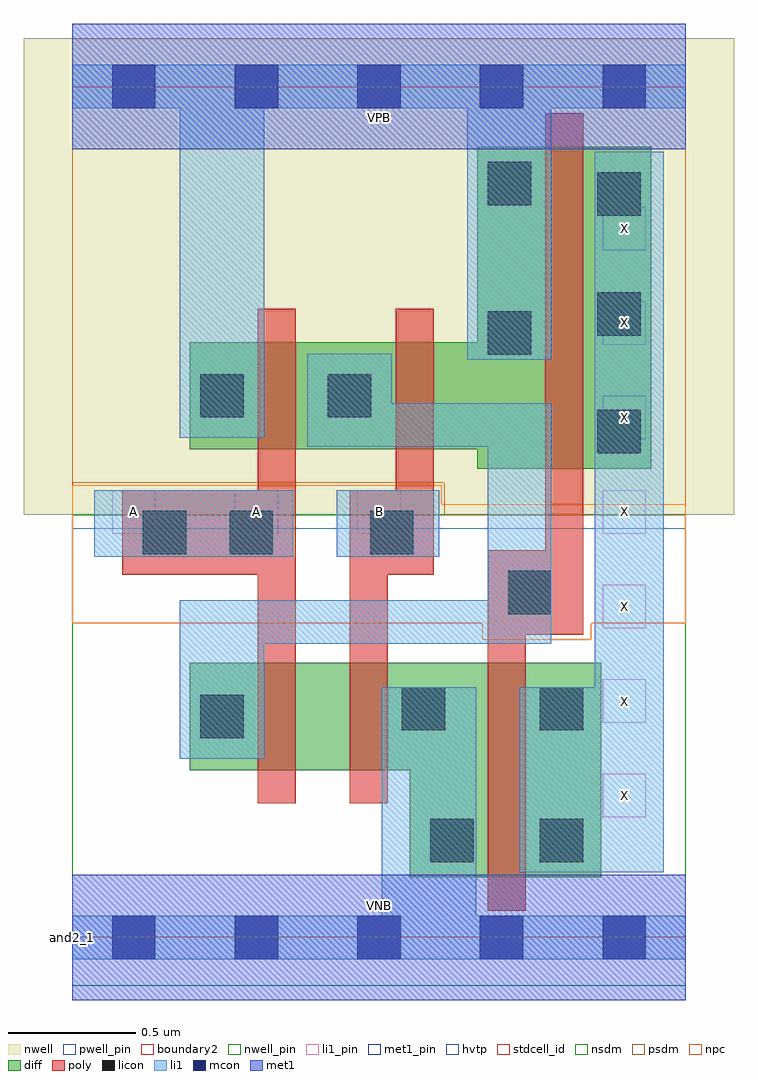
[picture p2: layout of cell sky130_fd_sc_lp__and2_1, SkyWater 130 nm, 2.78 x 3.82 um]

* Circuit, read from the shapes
.subckt sky130_fd_sc_lp__and2_1 A B VGND VNB VPB VPWR X
XM1 n1 A n2 VNB sky130_fd_pr__nfet_01v8 w=0.42 l=0.15
XM2 VGND B n1 VNB sky130_fd_pr__nfet_01v8 w=0.42 l=0.15
XM3 X n2 VGND VNB sky130_fd_pr__nfet_01v8 w=0.84 l=0.15
XM4 n2 A VPWR VPB sky130_fd_pr__pfet_01v8_hvt w=0.42 l=0.15
XM5 VPWR B n2 VPB sky130_fd_pr__pfet_01v8_hvt w=0.42 l=0.15
XM6 X n2 VPWR VPB sky130_fd_pr__pfet_01v8_hvt w=1.26 l=0.15
.ends

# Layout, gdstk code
import gdstk
lib = gdstk.Library(unit=1e-6, precision=1e-09)
def R(c, l, rs):  # rectangles x0, y0, x1, y1
    for r in rs: c.add(gdstk.rectangle(r[:2], r[2:], *l))
def A(c, l, x, y, w, h, nx, ny, dx, dy):  # array of equal rectangles
    R(c, l, [(x+i*dx, y+j*dy, x+i*dx+w, y+j*dy+h) for i in range(nx) for j in range(ny)])
def P(c, l, *ps):  # polygons
    for p in ps: c.add(gdstk.Polygon(p, *l))
nwell_pin = (64, 16)
nwell = (64, 20)
diff = (65, 20)
poly = (66, 20)
licon = (66, 44)
li1_pin = (67, 16)
li1 = (67, 20)
mcon = (67, 44)
met1_pin = (68, 16)
met1 = (68, 20)
hvtp = (78, 44)
stdcell_id = (81, 4)
nsdm = (93, 44)
psdm = (94, 20)
npc = (95, 20)
pwell_pin = (122, 16)
boundary2 = (236, 0)

sky130_fd_sc_lp__and2_1 = lib.new_cell('sky130_fd_sc_lp__and2_1')
R(sky130_fd_sc_lp__and2_1, nwell_pin, [(0,3.085,2.4,3.33)])
R(sky130_fd_sc_lp__and2_1, nwell, [(-0.19,1.655,2.59,3.52)])
P(sky130_fd_sc_lp__and2_1, diff, [(2.07,1.075),(0.46,1.075),(0.46,0.655),(1.32,0.655),(1.32,0.235),(2.07,0.235)],
  [(2.265,3.095),(1.585,3.095),(1.585,2.33),(0.46,2.33),(0.46,1.91),(1.585,1.91),(1.585,1.835),(2.265,1.835)])
P(sky130_fd_sc_lp__and2_1, poly, [(2,3.225),(1.85,3.225),(1.85,1.515),(1.625,1.515),(1.625,0.105),(1.775,0.105),(1.775,1.185),(2,1.185)],
  [(1.415,2.46),(1.265,2.46),(1.265,1.75),(1.085,1.75),(1.085,0.525),(1.235,0.525),(1.235,1.42),(1.415,1.42)],
  [(0.875,2.46),(0.725,2.46),(0.725,1.75),(0.195,1.75),(0.195,1.42),(0.725,1.42),(0.725,0.525),(0.875,0.525)])
R(sky130_fd_sc_lp__and2_1, licon, [(1.4,0.295,1.57,0.465), (1.83,0.295,2,0.465), (0.5,0.78,0.67,0.95), (1.29,0.81,1.46,0.98), (1.83,0.81,2,0.98), (1.705,1.265,1.875,1.435), (0.275,1.5,0.445,1.67), (0.615,1.5,0.785,1.67), (1.165,1.5,1.335,1.67), (2.055,1.895,2.225,2.065), (0.5,2.035,0.67,2.205), (1,2.035,1.17,2.205), (1.625,2.28,1.795,2.45), (2.055,2.355,2.225,2.525), (2.055,2.825,2.225,2.995), (1.625,2.865,1.795,3.035)])
A(sky130_fd_sc_lp__and2_1, li1_pin, 2.075, 0.47, 0.17, 0.17, 1, 7, 0, 0.37)
A(sky130_fd_sc_lp__and2_1, li1_pin, 0.155, 1.58, 0.17, 0.17, 3, 1, 0.48, 0)
R(sky130_fd_sc_lp__and2_1, li1, [(0.085,1.49,0.865,1.75), (1.035,1.49,1.435,1.75)])
P(sky130_fd_sc_lp__and2_1, li1, [(2.4,3.415),(0,3.415),(0,3.245),(0.42,3.245),(0.42,1.955),(0.75,1.955),(0.75,3.245),(1.545,3.245),(1.545,2.26),(1.875,2.26),(1.875,3.245),(2.4,3.245)],
  [(2.315,3.075),(2.045,3.075),(2.045,0.98),(1.75,0.98),(1.75,0.255),(2.315,0.255)],
  [(1.875,2.09),(1.25,2.09),(1.25,2.285),(0.92,2.285),(0.92,1.92),(1.625,1.92),(1.625,1.32),(0.42,1.32),(0.42,0.7),(0.75,0.7),(0.75,1.15),(1.875,1.15)],
  [(2.4,0.085),(1.58,0.085),(1.58,0.98),(1.21,0.98),(1.21,0.085),(0,0.085),(0,-0.085),(2.4,-0.085)])
A(sky130_fd_sc_lp__and2_1, mcon, 0.155, -0.085, 0.17, 0.17, 5, 2, 0.48, 3.33)
R(sky130_fd_sc_lp__and2_1, met1_pin, [(0,0,2.4,0.245), (0,3.085,2.4,3.33)])
R(sky130_fd_sc_lp__and2_1, met1, [(0,-0.245,2.4,0.245), (0,3.085,2.4,3.575)])
R(sky130_fd_sc_lp__and2_1, hvtp, [(0,1.6,2.4,3.33)])
R(sky130_fd_sc_lp__and2_1, stdcell_id, [(0,0,2.4,3.33)])
R(sky130_fd_sc_lp__and2_1, nsdm, [(0,-0.19,2.4,1.655)])
P(sky130_fd_sc_lp__and2_1, psdm, [(2.4,3.52),(0,3.52),(0,1.78),(1.455,1.78),(1.455,1.655),(2.4,1.655)])
P(sky130_fd_sc_lp__and2_1, npc, [(2.4,1.695),(1.445,1.695),(1.445,1.77),(0,1.77),(0,1.23),(1.605,1.23),(1.605,1.165),(2.03,1.165),(2.03,1.23),(2.4,1.23)])
R(sky130_fd_sc_lp__and2_1, pwell_pin, [(0,0,2.4,0.245)])
R(sky130_fd_sc_lp__and2_1, boundary2, [(0,0,2.4,3.33)])
sky130_fd_sc_lp__and2_1.add(gdstk.Label('VNB', (1.2,0.123), layer=64, texttype=59))
sky130_fd_sc_lp__and2_1.add(gdstk.Label('VPB', (1.2,3.208), layer=64, texttype=5))
sky130_fd_sc_lp__and2_1.add(gdstk.Label('and2_1', (0,0), layer=83, texttype=44))
sky130_fd_sc_lp__and2_1.add(gdstk.Label('VPWR', (1.2,3.208), layer=68, texttype=5))
sky130_fd_sc_lp__and2_1.add(gdstk.Label('VGND', (1.2,0.123), layer=68, texttype=5))
sky130_fd_sc_lp__and2_1.add(gdstk.Label('X', (2.16,0.555), layer=67, texttype=5))
sky130_fd_sc_lp__and2_1.add(gdstk.Label('X', (2.16,0.925), layer=67, texttype=5))
sky130_fd_sc_lp__and2_1.add(gdstk.Label('X', (2.16,1.295), layer=67, texttype=5))
sky130_fd_sc_lp__and2_1.add(gdstk.Label('X', (2.16,1.665), layer=67, texttype=5))
sky130_fd_sc_lp__and2_1.add(gdstk.Label('X', (2.16,2.035), layer=67, texttype=5))
sky130_fd_sc_lp__and2_1.add(gdstk.Label('X', (2.16,2.405), layer=67, texttype=5))
sky130_fd_sc_lp__and2_1.add(gdstk.Label('X', (2.16,2.775), layer=67, texttype=5))
sky130_fd_sc_lp__and2_1.add(gdstk.Label('A', (0.24,1.665), layer=67, texttype=5))
sky130_fd_sc_lp__and2_1.add(gdstk.Label('B', (1.2,1.665), layer=67, texttype=5))
sky130_fd_sc_lp__and2_1.add(gdstk.Label('A', (0.72,1.665), layer=67, texttype=5))

lib.write_gds('sky130_fd_sc_lp__and2_1.gds')
